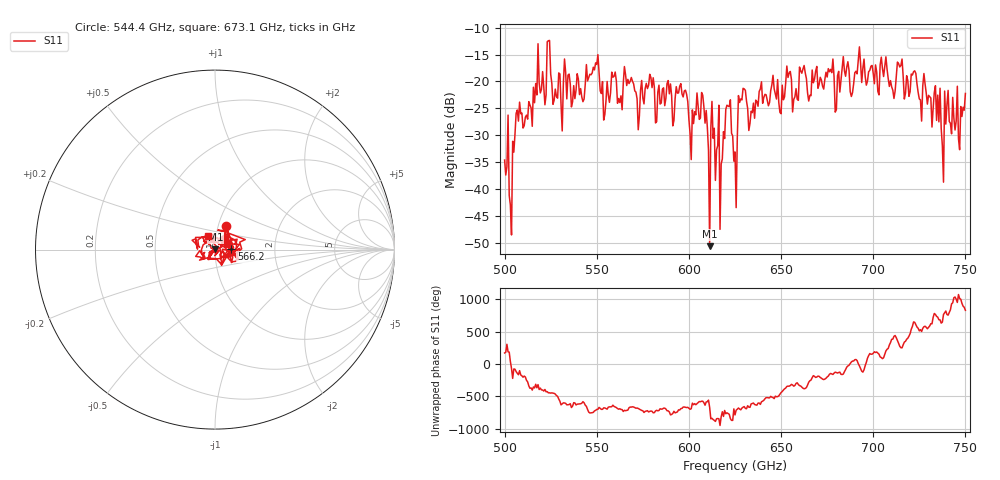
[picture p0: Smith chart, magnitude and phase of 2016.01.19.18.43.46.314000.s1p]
!Created with skrf (http://scikit-rf.org).
# GHz S RI R 50.0
!freq ReS11 ImS11
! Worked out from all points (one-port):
!   401 points, 500 GHz to 750 GHz, reference 50 ohm
!   lowest |S11| = -50.6 dB at 611.2 GHz (marker M1), VSWR 1.01, Z = 50.2 + j0.221 ohm
!   |S11| at or under -10 dB: start of sweep to end of sweep
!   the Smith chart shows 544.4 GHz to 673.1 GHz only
!   S11 on the Smith chart (normalised r, x): 544.4 GHz: 1.10, +0.29; 566.2 GHz: 1.20, +0.01; 673.1 GHz: 0.91, +0.14
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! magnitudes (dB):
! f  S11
! 500 GHz  -34.6
! 503.8 GHz  -48.5
! 507.5 GHz  -27.4
! 524.4 GHz  -12.4
! 526.9 GHz  -23.5
! 531.2 GHz  -29.2
! 544.4 GHz  -16.9
! 562.5 GHz  -23.9
! 566.2 GHz  -20.8
! 571.9 GHz  -23.2
! 593.8 GHz  -22.2
! 601.2 GHz  -34.5
! 608.1 GHz  -24.7
! 611.2 GHz  -50.6
! 618.1 GHz  -34.4
! 621.2 GHz  -24.6
! 625 GHz  -33.1
! 629.4 GHz  -21.3
! 633.1 GHz  -27.8
! 656.2 GHz  -25.7
! 673.1 GHz  -21.4
! 687.5 GHz  -21.9
! 710.6 GHz  -21.6
! 714.4 GHz  -17.3
! 718.8 GHz  -19.8
! 735 GHz  -22.5
! 738.1 GHz  -38.7
! 750 GHz  -22.2
